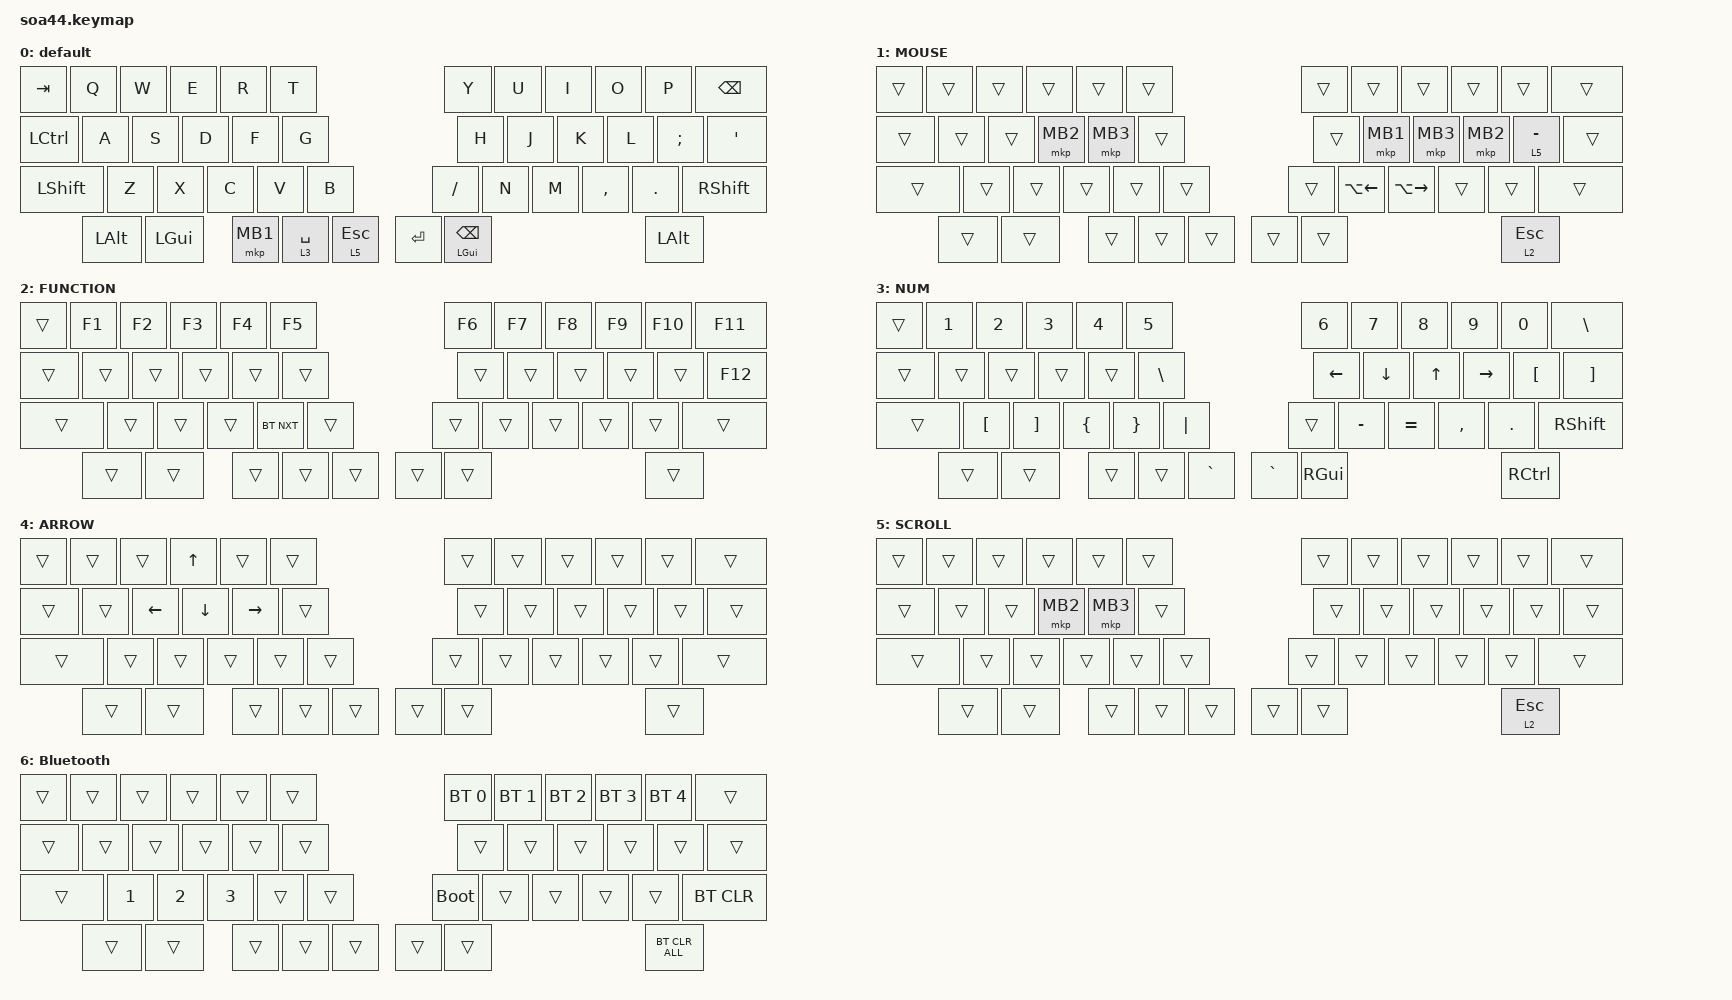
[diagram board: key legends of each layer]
#include <behaviors/rgbled_widget.dtsi>
#include <behaviors.dtsi>
#include <dt-bindings/zmk/bt.h>
#include <dt-bindings/zmk/keys.h>
#include <dt-bindings/zmk/pointing.h>

&mt {
    flavor = "balanced";
    quick-tap-ms = <0>;
};

/ {
    combos {
        compatible = "zmk,combos";

        tab {
            bindings = <&kp TAB>;
            key-positions = <11 12>;
        };

        shift_tab {
            bindings = <&kp LS(TAB)>;
            key-positions = <12 13>;
        };

        muhennkann {
            bindings = <&to_layer_0 INT_MUHENKAN>;
            key-positions = <11 10>;
        };

        double_quotation {
            bindings = <&kp DOUBLE_QUOTES>;
            key-positions = <20 21>;
        };

        eq {
            bindings = <&kp EQUAL>;
            key-positions = <24 25>;
        };
    };

    macros {
        to_layer_0: to_layer_0 {
            compatible = "zmk,behavior-macro-one-param";
            #binding-cells = <1>;
            bindings = <&to 0 &macro_param_1to1 &kp MACRO_PLACEHOLDER>;
            label = "TO_LAYER_0";
        };
    };

    behaviors {
        lt_to_layer_0: lt_to_layer_0 {
            compatible = "zmk,behavior-hold-tap";
            label = "LAYER_TAP_TO_0";
            bindings = <&mo>, <&to_layer_0>;

            #binding-cells = <2>;
            tapping-term-ms = <200>;
        };
    };

    keymap {
        compatible = "zmk,keymap";

        default {
            bindings = <
&kp TAB         &kp Q         &kp W         &kp E     &kp R        &kp T         &kp Y      &kp U                   &kp I  &kp O      &kp P          &kp BACKSPACE
&kp LCTRL       &kp A         &kp S         &kp D     &kp F        &kp G         &kp H      &kp J                   &kp K  &kp L      &kp SEMICOLON  &kp SQT
&kp LEFT_SHIFT  &kp Z         &kp X         &kp C     &kp V        &kp B         &kp SLASH  &kp N                   &kp M  &kp COMMA  &kp DOT        &kp RIGHT_SHIFT
                &kp LEFT_ALT  &kp LEFT_GUI  &mkp MB1  &lt 3 SPACE  &lt 5 ESCAPE  &kp ENTER  &mt LEFT_GUI BACKSPACE                    &kp LEFT_ALT
            >;
        };

        MOUSE {
            bindings = <
&trans  &trans  &trans  &trans    &trans    &trans  &trans  &trans        &trans         &trans    &trans        &trans
&trans  &trans  &trans  &mkp MB2  &mkp MB3  &trans  &trans  &mkp MB1      &mkp MB3       &mkp MB2  &lt 5 MINUS   &trans
&trans  &trans  &trans  &trans    &trans    &trans  &trans  &kp LA(LEFT)  &kp LA(RIGHT)  &trans    &trans        &trans
        &trans  &trans  &trans    &trans    &trans  &trans  &trans                                 &lt 2 ESCAPE
            >;
        };

        FUNCTION {
            bindings = <
&trans  &kp F1  &kp F2  &kp F3  &kp F4      &kp F5  &kp F6  &kp F7  &kp F8  &kp F9  &kp F10  &kp F11
&trans  &trans  &trans  &trans  &trans      &trans  &trans  &trans  &trans  &trans  &trans   &kp F12
&trans  &trans  &trans  &trans  &bt BT_NXT  &trans  &trans  &trans  &trans  &trans  &trans   &trans
        &trans  &trans  &trans  &trans      &trans  &trans  &trans                  &trans
            >;
        };

        NUM {
            bindings = <
&trans  &kp N1            &kp N2             &kp N3          &kp N4           &kp N5         &kp N6          &kp N7          &kp N8        &kp N9           &kp N0            &kp BACKSLASH
&trans  &trans            &trans             &trans          &trans           &kp BACKSLASH  &kp LEFT_ARROW  &kp DOWN_ARROW  &kp UP_ARROW  &kp RIGHT_ARROW  &kp LEFT_BRACKET  &kp RIGHT_BRACKET
&trans  &kp LEFT_BRACKET  &kp RIGHT_BRACKET  &kp LEFT_BRACE  &kp RIGHT_BRACE  &kp PIPE       &trans          &kp MINUS       &kp EQUAL     &kp COMMA        &kp PERIOD        &kp RSHIFT
        &trans            &trans             &trans          &trans           &kp GRAVE      &kp GRAVE       &kp RIGHT_GUI                                  &kp RCTRL
            >;
        };

        ARROW {
            bindings = <
&trans  &trans  &trans    &kp UP    &trans     &trans  &trans  &trans  &trans  &trans  &trans  &trans
&trans  &trans  &kp LEFT  &kp DOWN  &kp RIGHT  &trans  &trans  &trans  &trans  &trans  &trans  &trans
&trans  &trans  &trans    &trans    &trans     &trans  &trans  &trans  &trans  &trans  &trans  &trans
        &trans  &trans    &trans    &trans     &trans  &trans  &trans                  &trans
            >;
        };

        SCROLL {
            bindings = <
&trans  &trans  &trans  &trans    &trans    &trans  &trans  &trans  &trans  &trans  &trans        &trans
&trans  &trans  &trans  &mkp MB2  &mkp MB3  &trans  &trans  &trans  &trans  &trans  &trans        &trans
&trans  &trans  &trans  &trans    &trans    &trans  &trans  &trans  &trans  &trans  &trans        &trans
        &trans  &trans  &trans    &trans    &trans  &trans  &trans                  &lt 2 ESCAPE
            >;
        };

        Bluetooth {
            bindings = <
&trans  &trans        &trans        &trans        &trans  &trans  &bt BT_SEL 0  &bt BT_SEL 1  &bt BT_SEL 2  &bt BT_SEL 3  &bt BT_SEL 4    &trans
&trans  &trans        &trans        &trans        &trans  &trans  &trans        &trans        &trans        &trans        &trans          &trans
&trans  &kp NUMBER_1  &kp NUMBER_2  &kp NUMBER_3  &trans  &trans  &bootloader   &trans        &trans        &trans        &trans          &bt BT_CLR
        &trans        &trans        &trans        &trans  &trans  &trans        &trans                                    &bt BT_CLR_ALL
            >;
        };
    };
};
